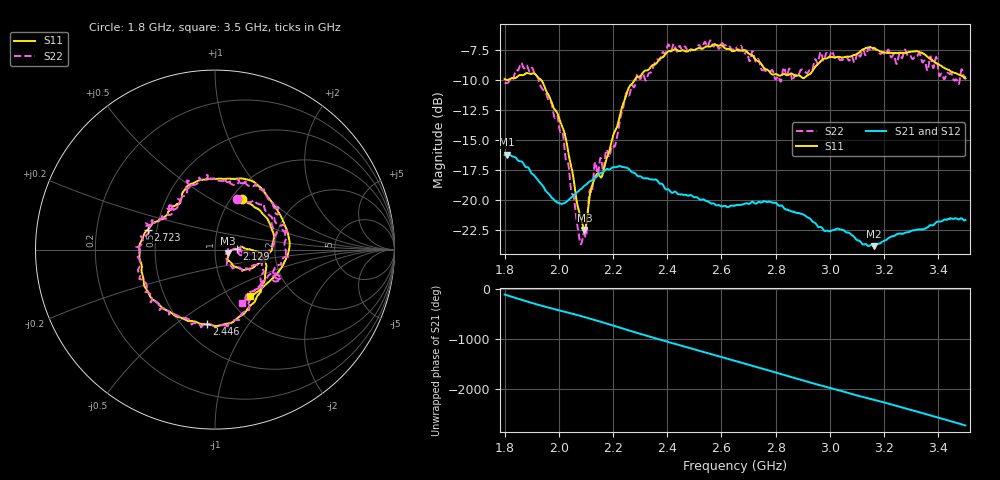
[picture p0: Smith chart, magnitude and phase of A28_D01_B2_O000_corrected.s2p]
! Created with skrf 1.9.0 (http://scikit-rf.org).
# Hz S RI R 50.0
!freq ReS11 ImS11 ReS21 ImS21 ReS12 ImS12 ReS22 ImS22
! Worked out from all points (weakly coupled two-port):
!   1601 points, 1.8 GHz to 3.5 GHz, reference 50 ohm
!   highest |S21| = -16.21 dB at 1.81 GHz (marker M1); lowest = -23.9 dB at 3.163 GHz (marker M2)
!   lowest |S11| = -22.5 dB at 2.094 GHz (marker M3), VSWR 1.16, Z = 57.7 - j2.31 ohm
!   |S11| at or under -10 dB: 1.936 GHz to 2.279 GHz (343.4 MHz wide, 16.3 % of centre)
!   |S22| runs from -23.7 to -6.7 dB; largest |S21 - S12| = 0.003
!   S11 on the Smith chart (normalised r, x): 1.8 GHz: 1.12, +0.71; 2.129 GHz: 1.27, +0.01; 2.446 GHz: 0.65, -0.66; 2.723 GHz: 0.45, +0.12; 3.5 GHz: 1.25, -0.72
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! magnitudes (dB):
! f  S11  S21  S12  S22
! 1.8 GHz  -9.9  -16.2  -16.2  -10.2
! 1.81 GHz  -10.0  -16.2  -16.2  -10.2
! 1.881 GHz  -9.4  -17.3  -17.3  -8.8
! 1.969 GHz  -11.6  -19.7  -19.7  -11.8
! 2.022 GHz  -14.5  -20.2  -20.2  -16.0
! 2.084 GHz  -21.7  -19.1  -19.0  -23.6
! 2.094 GHz  -22.5  -18.8  -18.9  -22.8
! 2.129 GHz  -18.4  -18.2  -18.2  -17.5
! 2.16 GHz  -18.0  -17.7  -17.6  -17.2
! 2.208 GHz  -14.2  -17.3  -17.2  -15.4
! 2.26 GHz  -10.5  -17.5  -17.5  -11.2
! 2.367 GHz  -8.4  -18.5  -18.5  -8.3
! 2.446 GHz  -7.6  -19.5  -19.5  -7.1
! 2.65 GHz  -7.5  -20.4  -20.4  -7.2
! 2.723 GHz  -8.2  -20.3  -20.2  -8.3
! 2.812 GHz  -9.6  -20.5  -20.4  -9.7
! 2.934 GHz  -9.3  -21.7  -21.7  -9.2
! 3.163 GHz  -7.3  -23.9  -23.8  -7.3
! 3.217 GHz  -7.7  -23.2  -23.1  -7.5
! 3.328 GHz  -7.6  -22.5  -22.5  -7.8
! 3.417 GHz  -8.9  -21.7  -21.7  -9.7
! 3.5 GHz  -9.9  -21.7  -21.7  -9.5
